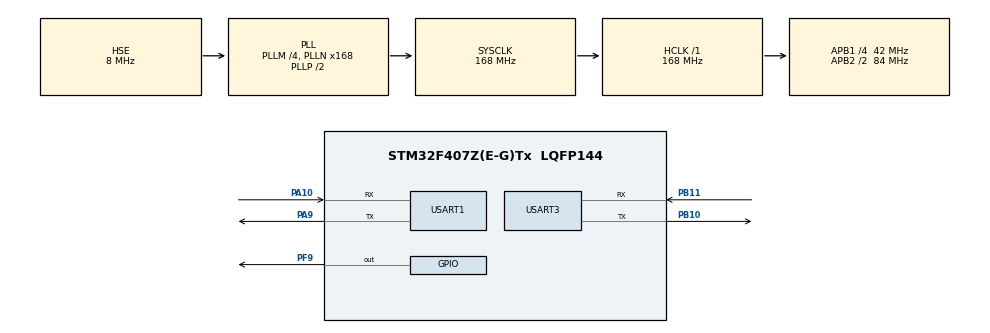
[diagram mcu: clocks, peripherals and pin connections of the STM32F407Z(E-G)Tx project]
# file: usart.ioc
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Mcu.Family=STM32F4
Mcu.Name=STM32F407Z(E-G)Tx
Mcu.Package=LQFP144
NVIC.PriorityGroup=NVIC_PRIORITYGROUP_4
NVIC.USART1_IRQn=true\:3\:0\:true\:false\:true\:true\:true\:true
NVIC.USART3_IRQn=true\:1\:0\:true\:false\:true\:true\:true\:true
PA10.Mode=Asynchronous
PA10.Signal=USART1_RX
PA9.Mode=Asynchronous
PA9.Signal=USART1_TX
PB10.Mode=Asynchronous
PB10.Signal=USART3_TX
PB11.Mode=Asynchronous
PB11.Signal=USART3_RX
PF9.Signal=GPIO_Output
PH0-OSC_IN.Mode=HSE-External-Oscillator
PH0-OSC_IN.Signal=RCC_OSC_IN
PH1-OSC_OUT.Mode=HSE-External-Oscillator
PH1-OSC_OUT.Signal=RCC_OSC_OUT
ProjectManager.HeapSize=0x200
ProjectManager.StackSize=0x400
ProjectManager.TargetToolchain=MDK-ARM V5
RCC.48MHZClocksFreq_Value=84000000
RCC.AHBFreq_Value=168000000
RCC.APB1CLKDivider=RCC_HCLK_DIV4
RCC.APB1Freq_Value=42000000
RCC.APB1TimFreq_Value=84000000
RCC.APB2CLKDivider=RCC_HCLK_DIV2
RCC.APB2Freq_Value=84000000
RCC.APB2TimFreq_Value=168000000
RCC.CortexFreq_Value=168000000
RCC.HCLKFreq_Value=168000000
RCC.HSE_VALUE=8000000
RCC.HSI_VALUE=16000000
RCC.LSE_VALUE=32768
RCC.PLLM=4
RCC.PLLN=168
RCC.PLLSourceVirtual=RCC_PLLSOURCE_HSE
RCC.SYSCLKFreq_VALUE=168000000
RCC.SYSCLKSource=RCC_SYSCLKSOURCE_PLLCLK
RCC.VCOOutputFreq_Value=336000000
USART1.VirtualMode=VM_ASYNC
USART3.VirtualMode=VM_ASYNC
board=custom

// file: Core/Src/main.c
/* USER CODE BEGIN Header */
/**
  ******************************************************************************
  * @file           : main.c
  * @brief          : Main program body
  ******************************************************************************
  * @attention
  *
  * Copyright (c) 2022 STMicroelectronics.
  * All rights reserved.
  *
  * This software is licensed under terms that can be found in the LICENSE file
  * in the root directory of this software component.
  * If no LICENSE file comes with this software, it is provided AS-IS.
  *
  ******************************************************************************
  */
/* USER CODE END Header */
#include "main.h"
#include "usart.h"
#include "gpio.h"

/* USER CODE BEGIN Includes */
#include "string.h"

/* USER CODE END Includes */

/* USER CODE BEGIN PV */

uint8_t Uart1_RxBuff[1];      //进入中断接收数据的数组
uint8_t Uart3_RxBuff[1];      //进入中断接收数据的数组
uint8_t Uart1_DataBuff[5000]; //保存接收到的数据的数组
uint8_t Uart3_DataBuff[5000]; //保存接收到的数据的数组
int Uart1_RxLine=0;           //接收到的数据长度
int Uart3_RxLine=0;           //接收到的数据长度

uint8_t Tx_str1[] = "hello";
uint8_t Tx_str2[] = "Open\r\n";
uint8_t Tx_str3[] = "Close";
uint8_t Tx_str4[] = "join";
uint8_t Tx_str5[] = "Uart1 Data Finish";
uint8_t Tx_str6[] = "Uart3 Data Finish";

uint8_t Rx_dat = 0;

//void HAL_UART_RxCpltCallback(UART_HandleTypeDef *huart)
//{
//	HAL_UART_Transmit(&huart3, Tx_str4, strlen(Tx_str4), 10000);
//	HAL_GPIO_TogglePin(GPIOF, GPIO_PIN_9);
//	if(huart->Instance == USART3)
//	{
//		if(Rx_dat == 0x01)
//		{
//			HAL_UART_Transmit(&huart3, Tx_str2, strlen(Tx_str2), 10000);
//				printf("%d\r\n",Rx_dat );
//		}
//
//		if(Rx_dat == 0x02)
//		{
//			HAL_UART_Transmit(&huart3, Tx_str3, strlen(Tx_str3), 10000);
//
//		}
//		HAL_UART_Receive_IT(&huart3, &Rx_dat, 1);
//	}
//}

void HAL_UART_RxCpltCallback(UART_HandleTypeDef *huart)
{
    if(huart->Instance == USART1)
		{
			Uart1_RxLine++;                      //每接收到一个数据，进入回调数据长度加1
			Uart1_DataBuff[Uart1_RxLine-1]=Uart1_RxBuff[0];  //把每次接收到的数据保存到缓存数组

			if(Uart1_RxBuff[0]==0xff)            //接收结束标志位，这个数据可以自定义，根据实际需求，这里只做示例使用，不一定是0xff
			{
					printf("Uart1 RXLen=%d\r\n",Uart1_RxLine);
					for(int i=0;i<Uart1_RxLine;i++)
					{
							printf("UART1 DataBuff[%d] = ",i);
							printf("0x%x\r\n",Uart1_DataBuff[i]);
					}
								//        　　printf("UART DataBuff[%d] = 0x%x\r\n",i,DataBuff[i]);
					memset(Uart1_DataBuff,0,sizeof(Uart1_DataBuff));  //清空缓存数组
					Uart1_RxLine=0;  //清空接收长度
//					HAL_UART_Transmit(&huart1, (uint8_t *)Tx_str5, strlen(Tx_str5), 10000);
					printf(Tx_str5);
			}

			Uart1_RxBuff[0]=0;
			HAL_UART_Receive_IT(&huart1, (uint8_t *)Uart1_RxBuff, 1); //每接收一个数据，就打开一次串口中断接收，否则只会接收一个数据就停止接收
		}

		else if(huart->Instance == USART3)
		{
			Uart3_RxLine++;                      //每接收到一个数据，进入回调数据长度加1
			Uart3_DataBuff[Uart3_RxLine-1]=Uart3_RxBuff[0];  //把每次接收到的数据保存到缓存数组

			if(Uart3_RxBuff[0]==0xff)            //接收结束标志位，这个数据可以自定义，根据实际需求，这里只做示例使用，不一定是0xff
			{
					printf("Uart3 RXLen=%d\r\n",Uart3_RxLine);
					for(int i=0;i<Uart3_RxLine;i++)
					{
							printf("UART3 DataBuff[%d] = ",i);
							printf("0x%x\r\n",Uart3_DataBuff[i]);
					}
								//        　　printf("UART DataBuff[%d] = 0x%x\r\n",i,DataBuff[i]);
					memset(Uart3_DataBuff,0,sizeof(Uart3_DataBuff));  //清空缓存数组
					Uart3_RxLine=0;  //清空接收长度
					HAL_UART_Transmit(&huart3, (uint8_t *)Tx_str6, strlen(Tx_str6), 10000);
			}

			Uart3_RxBuff[0]=0;
			HAL_UART_Receive_IT(&huart3, (uint8_t *)Uart3_RxBuff, 1); //每接收一个数据，就打开一次串口中断接收，否则只会接收一个数据就停止接收
		}
}

/* USER CODE END PV */

void SystemClock_Config(void);

int main(void)
{
  /* USER CODE BEGIN 1 */
	SystemClock_Config();
  /* USER CODE END 1 */

  /* MCU Configuration--------------------------------------------------------*/

  /* Reset of all peripherals, Initializes the Flash interface and the Systick. */
  HAL_Init();

  /* Configure the system clock */
  SystemClock_Config();

  /* Initialize all configured peripherals */
  MX_GPIO_Init();
  MX_USART3_UART_Init();
  MX_USART1_UART_Init();
  /* USER CODE BEGIN 2 */
	HAL_UART_Transmit(&huart3, (uint8_t *)Tx_str1, strlen(Tx_str1), 10000);
	HAL_UART_Receive_IT(&huart1, (uint8_t *)Uart1_RxBuff, 1);
	HAL_UART_Receive_IT(&huart3, (uint8_t *)Uart3_RxBuff, 1);
//	printf("begin");
  /* USER CODE END 2 */

  /* Infinite loop */
  while (1)
  {

  }
}

void SystemClock_Config(void)
{
  RCC_OscInitTypeDef RCC_OscInitStruct = {0};
  RCC_ClkInitTypeDef RCC_ClkInitStruct = {0};

  /** Configure the main internal regulator output voltage
  */
  __HAL_RCC_PWR_CLK_ENABLE();
  __HAL_PWR_VOLTAGESCALING_CONFIG(PWR_REGULATOR_VOLTAGE_SCALE1);

  /** Initializes the RCC Oscillators according to the specified parameters
  * in the RCC_OscInitTypeDef structure.
  */
  RCC_OscInitStruct.OscillatorType = RCC_OSCILLATORTYPE_HSE;
  RCC_OscInitStruct.HSEState = RCC_HSE_ON;
  RCC_OscInitStruct.PLL.PLLState = RCC_PLL_ON;
  RCC_OscInitStruct.PLL.PLLSource = RCC_PLLSOURCE_HSE;
  RCC_OscInitStruct.PLL.PLLM = 4;
  RCC_OscInitStruct.PLL.PLLN = 168;
  RCC_OscInitStruct.PLL.PLLP = RCC_PLLP_DIV2;
  RCC_OscInitStruct.PLL.PLLQ = 4;
  if (HAL_RCC_OscConfig(&RCC_OscInitStruct) != HAL_OK)
  {
    Error_Handler();
  }

  /** Initializes the CPU, AHB and APB buses clocks
  */
  RCC_ClkInitStruct.ClockType = RCC_CLOCKTYPE_HCLK|RCC_CLOCKTYPE_SYSCLK
                              |RCC_CLOCKTYPE_PCLK1|RCC_CLOCKTYPE_PCLK2;
  RCC_ClkInitStruct.SYSCLKSource = RCC_SYSCLKSOURCE_PLLCLK;
  RCC_ClkInitStruct.AHBCLKDivider = RCC_SYSCLK_DIV1;
  RCC_ClkInitStruct.APB1CLKDivider = RCC_HCLK_DIV4;
  RCC_ClkInitStruct.APB2CLKDivider = RCC_HCLK_DIV2;

  if (HAL_RCC_ClockConfig(&RCC_ClkInitStruct, FLASH_LATENCY_5) != HAL_OK)
  {
    Error_Handler();
  }
}

void Error_Handler(void)
{
  __disable_irq();
  while (1)
  {
  }
}
